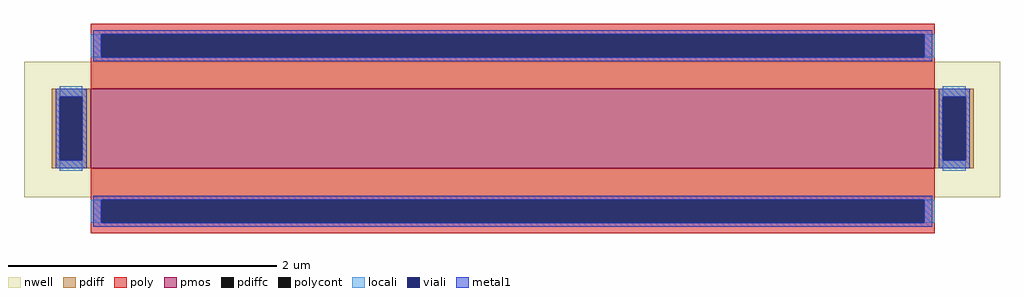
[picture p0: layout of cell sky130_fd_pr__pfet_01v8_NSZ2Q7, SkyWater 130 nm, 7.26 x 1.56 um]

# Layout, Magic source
magic
tech sky130A
magscale 1 2
<< nwell >>
rect -727 -102 725 99
<< pmos >>
rect -628 -59 628 59
<< pdiff >>
rect -686 47 -628 59
rect -686 -47 -674 47
rect -640 -47 -628 47
rect -686 -59 -628 -47
rect 628 47 686 59
rect 628 -47 640 47
rect 674 -47 686 47
rect 628 -59 686 -47
<< pdiffc >>
rect -674 -47 -640 47
rect 640 -47 674 47
<< poly >>
rect -628 140 628 156
rect -628 106 -612 140
rect 612 106 628 140
rect -628 59 628 106
rect -628 -106 628 -59
rect -628 -140 -612 -106
rect 612 -140 628 -106
rect -628 -156 628 -140
<< polycont >>
rect -612 106 612 140
rect -612 -140 612 -106
<< locali >>
rect -628 106 -612 140
rect 612 106 628 140
rect -674 47 -640 63
rect -674 -63 -640 -47
rect 640 47 674 63
rect 640 -63 674 -47
rect -628 -140 -612 -106
rect 612 -140 628 -106
<< viali >>
rect -612 106 612 140
rect -674 -47 -640 47
rect 640 -47 674 47
rect -612 -140 612 -106
<< metal1 >>
rect -624 140 624 146
rect -624 106 -612 140
rect 612 106 624 140
rect -624 100 624 106
rect -680 47 -634 59
rect -680 -47 -674 47
rect -640 -47 -634 47
rect -680 -59 -634 -47
rect 634 47 680 59
rect 634 -47 640 47
rect 674 -47 680 47
rect 634 -59 680 -47
rect -624 -106 624 -100
rect -624 -140 -612 -106
rect 612 -140 624 -106
rect -624 -146 624 -140
<< properties >>
string FIXED_BBOX -771 -225 771 225
string gencell sky130_fd_pr__pfet_01v8
string library sky130
string parameters w 0.59 l 6.28 m 1 nf 1 diffcov 100 polycov 100 guard 1 glc 1 grc 1 gtc 1 gbc 1 tbcov 100 rlcov 100 topc 1 botc 1 poverlap 0 doverlap 1 lmin 0.15 wmin 0.42 compatible {sky130_fd_pr__pfet_01v8  sky130_fd_pr__pfet_01v8_lvt sky130_fd_pr__pfet_01v8_hvt  sky130_fd_pr__pfet_g5v0d10v5} full_metal 1 viasrc 100 viadrn 100 viagate 100 viagb 0 viagr 0 viagl 0 viagt 0
<< end >>
